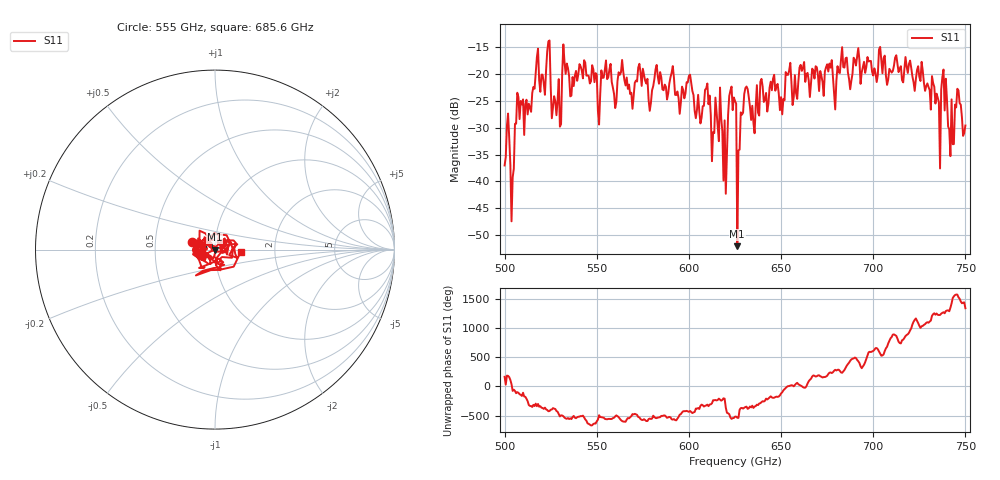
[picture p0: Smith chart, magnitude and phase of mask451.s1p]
!Created with skrf (http://scikit-rf.org).
# GHz S MA R 50.0
!freq magS11 angS11
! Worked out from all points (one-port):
!   401 points, 500 GHz to 750 GHz, reference 50 ohm
!   lowest |S11| = -52.1 dB at 626.2 GHz (marker M1), VSWR 1.00, Z = 49.8 - j0.0233 ohm
!   |S11| at or under -10 dB: start of sweep to end of sweep
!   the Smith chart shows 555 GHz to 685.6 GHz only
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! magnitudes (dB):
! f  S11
! 500 GHz  -37.0
! 501.9 GHz  -27.3
! 504.4 GHz  -39.3
! 506.9 GHz  -23.4
! 513.8 GHz  -26.2
! 516.9 GHz  -19.8
! 523.8 GHz  -13.9
! 526.9 GHz  -24.1
! 531.2 GHz  -19.7
! 533.1 GHz  -19.9
! 550.6 GHz  -26.8
! 562.5 GHz  -20.1
! 593.8 GHz  -23.2
! 610 GHz  -21.7
! 619.4 GHz  -28.6
! 623.1 GHz  -22.3
! 625 GHz  -25.0
! 626.2 GHz  -52.1
! 631.2 GHz  -22.3
! 634.4 GHz  -25.9
! 656.2 GHz  -25.7
! 687.5 GHz  -22.8
! 718.8 GHz  -19.8
! 735 GHz  -24.4
! 738.1 GHz  -19.1
! 742.5 GHz  -24.7
! 746.2 GHz  -23.0
! 750 GHz  -29.6
